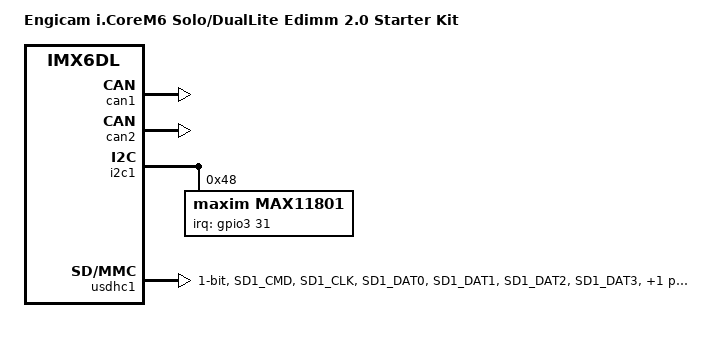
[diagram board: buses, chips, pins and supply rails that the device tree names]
// SPDX-License-Identifier: GPL-2.0 OR X11
/*
 * Copyright (C) 2016 Amarula Solutions B.V.
 * Copyright (C) 2016 Engicam S.r.l.
 */

/dts-v1/;

#include "imx6dl.dtsi"
#include "imx6qdl-icore.dtsi"

/ {
	model = "Engicam i.CoreM6 Solo/DualLite Edimm 2.0 Starter Kit";
	compatible = "engicam,imx6-icore", "fsl,imx6dl";
};

&can1 {
	status = "okay";
};

&can2 {
	status = "okay";
};

&i2c1 {
	max11801: touchscreen@48 {
		compatible = "maxim,max11801";
		reg = <0x48>;
		interrupt-parent = <&gpio3>;
		interrupts = <31 IRQ_TYPE_EDGE_FALLING>;
	};
};

&usdhc1 {
	pinctrl-names = "default";
	pinctrl-0 = <&pinctrl_usdhc1>, <&pinctrl_usdhc1_gpio>;
	cd-gpio = <&gpio1 1 GPIO_ACTIVE_LOW>;
	max-frequency = <50000000>;
	bus-width = <1>;
};


&iomuxc {
	pinctrl_usdhc1: usdhc1grp {
		fsl,pins = <
			MX6QDL_PAD_SD1_CMD__SD1_CMD    0x17070
			MX6QDL_PAD_SD1_CLK__SD1_CLK    0x10070
			MX6QDL_PAD_SD1_DAT0__SD1_DATA0 0x17070
			MX6QDL_PAD_SD1_DAT1__SD1_DATA1 0x17070
			MX6QDL_PAD_SD1_DAT2__SD1_DATA2 0x17070
			MX6QDL_PAD_SD1_DAT3__SD1_DATA3 0x17070
		>;
	};

	pinctrl_usdhc1_gpio: usdhc1gpiogrp {
		fsl,pins = <
			MX6QDL_PAD_GPIO_1__GPIO1_IO01  0x1b0b0
		>;
	};
};
